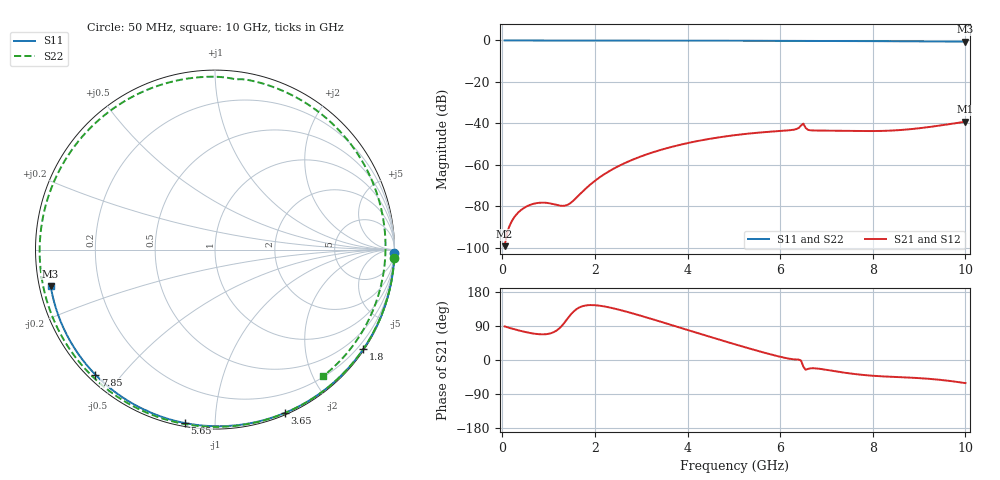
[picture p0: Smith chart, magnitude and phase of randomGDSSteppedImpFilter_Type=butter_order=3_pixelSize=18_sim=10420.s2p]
! freq	dB(S11)	phase(S11)	dB(S12)	phase(S12)
!  dB(S21)	phase(S21)	dB(S22)	phase(S22)
!S-par simulation data
#  GHz  S  DB  R 50
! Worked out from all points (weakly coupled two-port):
!   200 points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, 50 MHz to 10 GHz, reference 50 ohm
!   highest |S21| = -39.22 dB at 10 GHz (marker M1); lowest = -99.3 dB at 50 MHz (marker M2)
!   lowest |S11| = -0.6 dB at 10 GHz (marker M3), VSWR 31.16, Z = 1.62 - j5.44 ohm
!   |S11| at or under -10 dB: nowhere
!   |S22| runs from -0.7 to 0.0 dB; largest |S21 - S12| = 0
!   S11 on the Smith chart (normalised r, x): 50 MHz: open; 1.8 GHz: 0.03, -3.28; 3.65 GHz: 0.02, -1.52; 5.65 GHz: 0.02, -0.84; 7.85 GHz: 0.02, -0.43; 10 GHz: 0.03, -0.11
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0.05  -0.00 -1.0  -99.28 88.7  -99.28 88.7  -0.00 -2.6
0.65  -0.02 -12.4  -78.99 70.2  -78.99 70.2  -0.04 -32.7
0.9  -0.02 -17.1  -78.29 67.8  -78.29 67.8  -0.06 -45.0
1.35  -0.03 -25.6  -79.74 99.8  -79.74 99.8  -0.08 -66.6
1.5  -0.04 -28.4  -77.99 123.0  -77.99 123.0  -0.09 -73.6
1.75  -0.04 -33.0  -72.58 142.6  -72.58 142.6  -0.10 -84.9
1.8  -0.04 -33.9  -71.53 143.9  -71.53 143.9  -0.10 -87.2
2.45  -0.06 -45.7  -61.33 134.9  -61.33 134.9  -0.13 -115.3
3.4  -0.08 -62.5  -52.96 101.8  -52.96 101.8  -0.17 -153.9
3.65  -0.09 -66.8  -51.41 92.5  -51.41 92.5  -0.18 -163.7
4.35  -0.11 -78.7  -47.99 66.2  -47.99 66.2  -0.22 169.0
5.05  -0.14 -90.2  -45.62 40.5  -45.62 40.5  -0.25 141.6
5.65  -0.17 -99.8  -44.26 19.6  -44.26 19.6  -0.28 117.6
6.3  -0.20 -110.0  -43.05 1.6  -43.05 1.6  -0.32 90.9
6.5  -0.23 -113.0  -40.16 -17.4  -40.16 -17.4  -0.39 83.0
6.6  -0.22 -114.6  -43.10 -23.5  -43.10 -23.5  -0.33 78.9
6.7  -0.23 -116.1  -43.44 -21.7  -43.44 -21.7  -0.33 74.6
7.25  -0.27 -124.6  -43.54 -30.9  -43.54 -30.9  -0.36 51.8
7.85  -0.32 -133.8  -43.72 -40.1  -43.72 -40.1  -0.39 27.5
8.35  -0.36 -141.5  -43.54 -44.1  -43.54 -44.1  -0.43 8.0
9.1  -0.44 -153.1  -42.11 -48.6  -42.11 -48.6  -0.51 -19.5
10  -0.56 -167.6  -39.22 -61.0  -39.22 -61.0  -0.66 -49.6
